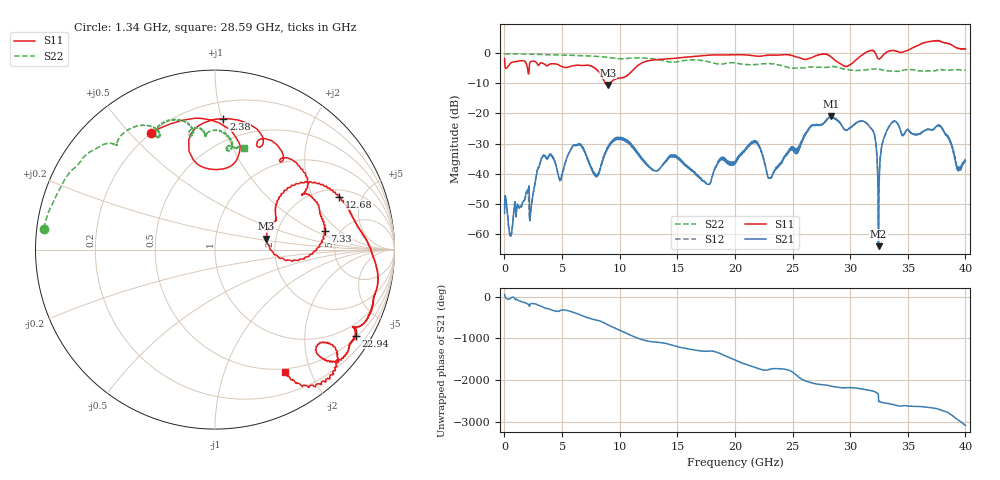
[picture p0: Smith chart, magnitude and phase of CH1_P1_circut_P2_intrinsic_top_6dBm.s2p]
!Keysight Technologies,N5222B,MY61257109,A.17.25.03
!Date: Wednesday, July 22, 2026 17:48:55
!Correction: S11(C  2-Port  )
!S21(C  2-Port  )
!S12(C  2-Port  )
!S22(C  2-Port  )
!S2P File: Measurements: S11, S21, S12, S22:
# Hz S  dB  R 50
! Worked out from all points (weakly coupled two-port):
!   4000 points, 10 MHz to 40 GHz, reference 50 ohm
!   highest |S21| = -21.03 dB at 28.32 GHz (marker M1); lowest = -63.9 dB at 32.46 GHz (marker M2)
!   lowest |S11| = -10.7 dB at 8.99 GHz (marker M3), VSWR 1.83, Z = 89.2 + j11.9 ohm
!   |S11| at or under -10 dB: 8.74 GHz to 9.196 GHz (456 MHz wide, 5.08 % of centre)
!   |S22| runs from -6.1 to -0.3 dB; largest |S21 - S12| = 0.0046
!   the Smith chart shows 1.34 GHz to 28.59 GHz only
!   S11 on the Smith chart (normalised r, x): 1.34 GHz: 0.20, +0.57; 2.38 GHz: 0.32, +1.01; 7.33 GHz: 3.80, +1.31; 12.68 GHz: 2.38, +3.24; 22.94 GHz: 0.56, -3.47; 28.59 GHz: 0.46, -1.62
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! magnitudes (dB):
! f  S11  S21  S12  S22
! 10 MHz  -1.9  -53.1  -51.4  -0.3
! 520 MHz  -3.5  -60.4  -60.3  -0.3
! 1.34 GHz  -2.6  -50.7  -50.6  -0.4
! 2.38 GHz  -2.7  -49.1  -49.1  -0.4
! 3.33 GHz  -3.4  -34.3  -34.0  -0.6
! 4.84 GHz  -4.3  -41.9  -42.0  -0.7
! 6.68 GHz  -4.2  -30.5  -31.0  -1.0
! 7.33 GHz  -4.1  -36.2  -36.1  -1.0
! 8.99 GHz  -10.7  -30.9  -31.5  -1.5
! 12.68 GHz  -2.5  -38.1  -38.3  -1.9
! 13.34 GHz  -2.2  -38.8  -38.8  -2.2
! 20.01 GHz  -0.6  -36.6  -36.0  -3.3
! 21.76 GHz  -1.0  -29.0  -29.6  -3.9
! 22.94 GHz  -0.7  -41.4  -41.4  -3.6
! 26.67 GHz  -1.6  -24.2  -24.0  -4.6
! 28.32 GHz  -1.2  -21.0  -21.3  -4.6
! 28.59 GHz  -2.1  -21.7  -21.6  -4.6
! 31.74 GHz  0.7  -24.7  -24.6  -5.3
! 32.46 GHz  -2.0  -63.9  -54.8  -5.3
! 33.34 GHz  0.5  -24.5  -24.5  -6.0
! 37.75 GHz  3.9  -24.1  -23.9  -5.6
! 40 GHz  1.2  -35.7  -35.2  -5.6
